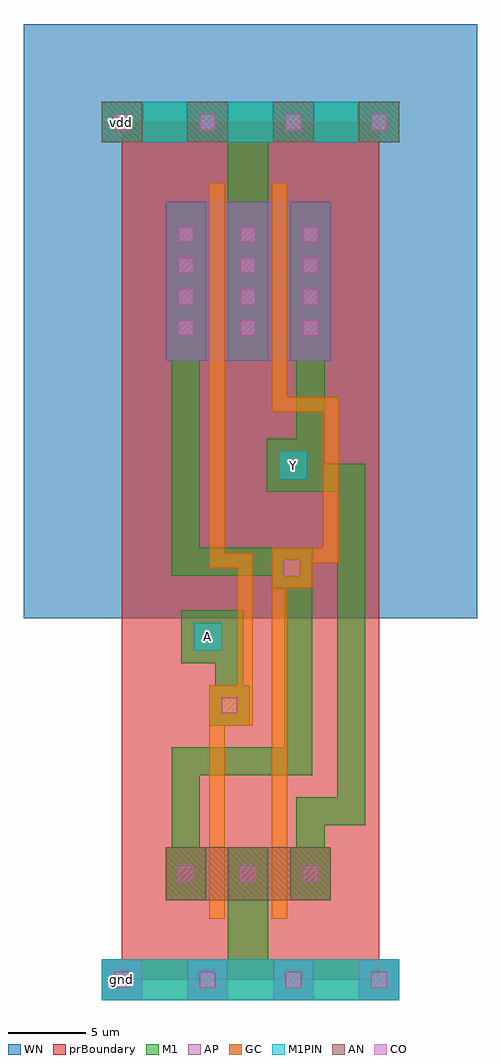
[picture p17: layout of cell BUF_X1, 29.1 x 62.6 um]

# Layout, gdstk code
import gdstk
lib = gdstk.Library(unit=1e-6, precision=1e-09)
def R(c, l, rs):  # rectangles x0, y0, x1, y1
    for r in rs: c.add(gdstk.rectangle(r[:2], r[2:], *l))
def A(c, l, x, y, w, h, nx, ny, dx, dy):  # array of equal rectangles
    R(c, l, [(x+i*dx, y+j*dy, x+i*dx+w, y+j*dy+h) for i in range(nx) for j in range(ny)])
def P(c, l, *ps):  # polygons
    for p in ps: c.add(gdstk.Polygon(p, *l))
AP = (3, 1)
AN = (3, 2)
GC = (8, 1)
CO = (11, 0)
M1 = (13, 0)
M1PIN = (48, 1)
WN = (140, 0)
prBoundary = (235, 0)

buf_x1 = lib.new_cell('BUF_X1')
A(buf_x1, AP, -1.3, -1.3, 2.6, 2.6, 4, 1, 5.5, 0)
R(buf_x1, AP, [(2.8,39.7,13.4,49.9), (2.8,39.7,13.4,49.9)])
A(buf_x1, AN, -1.3, 53.7, 2.6, 2.6, 4, 1, 5.5, 0)
R(buf_x1, AN, [(2.8,5.1,13.4,8.5)])
P(buf_x1, GC, [(5.6,3.9),(5.6,18.9),(7.4,18.9),(7.4,26.4),(5.6,26.4),(5.6,51.1),(6.6,51.1),(6.6,27.4),(8.4,27.4),(8.4,16.3),(6.6,16.3),(6.6,3.9)],
  [(9.6,3.9),(9.6,27.7),(12.9,27.7),(12.9,36.4),(9.6,36.4),(9.6,51.1),(10.6,51.1),(10.6,37.4),(13.9,37.4),(13.9,26.7),(12.2,26.7),(12.2,25.1),(10.6,25.1),(10.6,3.9)])
A(buf_x1, CO, -0.5, -0.5, 1, 1, 4, 2, 5.5, 55)
A(buf_x1, CO, 3.6, 41.3, 1, 1, 1, 4, 0, 2)
A(buf_x1, CO, 11.6, 41.3, 1, 1, 1, 4, 0, 2)
R(buf_x1, CO, [(3.6,6.3,4.6,7.3), (7.6,6.3,8.6,7.3), (7.6,6.3,8.6,7.3), (11.6,6.3,12.6,7.3), (6.4,17.1,7.4,18.1), (10.4,25.9,11.4,26.9), (7.6,41.3,8.6,42.3), (7.6,41.3,8.6,42.3), (7.6,43.3,8.6,44.3), (7.6,43.3,8.6,44.3), (7.6,45.3,8.6,46.3), (7.6,45.3,8.6,46.3), (7.6,47.3,8.6,48.3), (7.6,47.3,8.6,48.3)])
P(buf_x1, M1, [(-1.3,-1.3),(-1.3,1.3),(6.8,1.3),(6.8,8.5),(9.4,8.5),(9.4,1.3),(17.8,1.3),(17.8,-1.3)],
  [(5.6,16.3),(5.6,18.9),(6,18.9),(6,20.3),(3.8,20.3),(3.8,23.7),(7.8,23.7),(7.8,18.9),(8.2,18.9),(8.2,16.3)],
  [(2.8,5.1),(2.8,8.5),(3.2,8.5),(3.2,14.9),(10.4,14.9),(10.4,25.1),(9.6,25.1),(9.6,25.9),(3.2,25.9),(3.2,39.7),(2.8,39.7),(2.8,49.9),(5.4,49.9),(5.4,39.7),(5,39.7),(5,27.7),(12.2,27.7),(12.2,13.1),(5,13.1),(5,8.5),(5.4,8.5),(5.4,5.1)],
  [(10.8,5.1),(10.8,8.5),(11.2,8.5),(11.2,11.7),(13.8,11.7),(13.8,31.3),(9.3,31.3),(9.3,34.7),(11.2,34.7),(11.2,39.7),(10.8,39.7),(10.8,49.9),(13.4,49.9),(13.4,39.7),(13,39.7),(13,33.1),(15.6,33.1),(15.6,9.9),(13,9.9),(13,8.5),(13.4,8.5),(13.4,5.1)],
  [(6.8,39.7),(6.8,53.7),(-1.3,53.7),(-1.3,56.3),(17.8,56.3),(17.8,53.7),(9.4,53.7),(9.4,39.7)])
R(buf_x1, M1PIN, [(-1.3,-1.3,17.8,1.3), (4.6,21.1,6.4,22.9), (10.1,32.1,11.9,33.9), (-1.3,53.7,17.8,56.3)])
R(buf_x1, WN, [(-6.3,23.2,22.8,61.3)])
R(buf_x1, prBoundary, [(0,0,16.5,55)])
buf_x1.add(gdstk.Label('vdd', (0,55), layer=48, texttype=0))
buf_x1.add(gdstk.Label('gnd', (0,0), layer=48, texttype=0))
buf_x1.add(gdstk.Label('Y', (11,33), layer=48, texttype=0))
buf_x1.add(gdstk.Label('A', (5.5,22), layer=48, texttype=0))

lib.write_gds('BUF_X1.gds')
